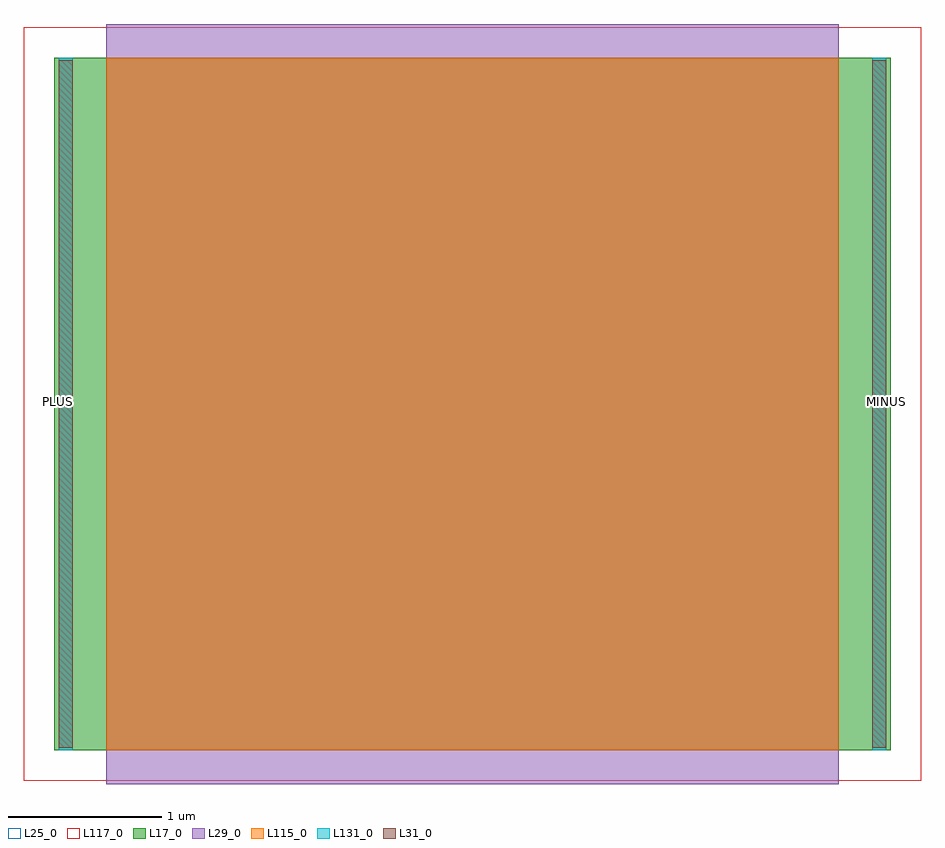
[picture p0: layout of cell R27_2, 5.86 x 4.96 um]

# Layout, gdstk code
import gdstk
lib = gdstk.Library(unit=1e-6, precision=1e-09)
def R(c, l, rs):  # rectangles x0, y0, x1, y1
    for r in rs: c.add(gdstk.rectangle(r[:2], r[2:], *l))
L17_0 = (17, 0)
L25_0 = (25, 0)
L29_0 = (29, 0)
L31_0 = (31, 0)
L115_0 = (115, 0)
L117_0 = (117, 0)
L131_0 = (131, 0)

r27_2 = lib.new_cell('R27_2')
R(r27_2, L17_0, [(0.2,0.22,5.66,4.74)])
R(r27_2, L25_0, [(0,0.02,5.86,4.94)])
R(r27_2, L29_0, [(0.54,0,5.32,4.96)])
R(r27_2, L31_0, [(0.23,0.235,0.32,4.725), (5.54,0.235,5.63,4.725)])
R(r27_2, L115_0, [(0.54,0.22,5.32,4.74)])
R(r27_2, L117_0, [(0,0.02,5.86,4.94)])
R(r27_2, L131_0, [(0.23,0.22,0.32,4.74), (5.54,0.22,5.63,4.74)])
r27_2.add(gdstk.Label('PLUS', (0.23,2.495), layer=131, texttype=0))
r27_2.add(gdstk.Label('MINUS', (5.63,2.495), layer=131, texttype=0))

lib.write_gds('R27_2.gds')
